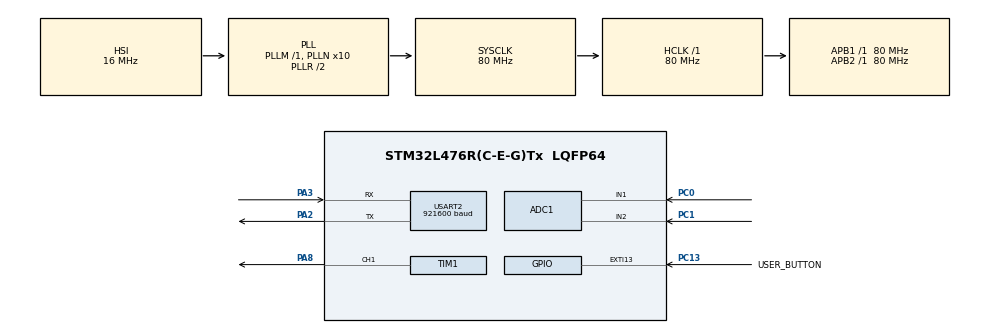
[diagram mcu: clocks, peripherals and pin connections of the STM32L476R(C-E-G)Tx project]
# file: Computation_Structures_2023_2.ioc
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ADC1.Channel-0\#ChannelRegularConversion=ADC_CHANNEL_1
ADC1.Channel-1\#ChannelRegularConversion=ADC_CHANNEL_2
ADC1.ClockPrescaler=ADC_CLOCK_ASYNC_DIV1
ADC1.ContinuousConvMode=ENABLE
ADC1.EOCSelection=ADC_EOC_SEQ_CONV
ADC1.NbrOfConversion=2
ADC1.NbrOfConversionFlag=1
ADC1.OffsetNumber-0\#ChannelRegularConversion=ADC_OFFSET_NONE
ADC1.OffsetNumber-1\#ChannelRegularConversion=ADC_OFFSET_NONE
ADC1.Rank-0\#ChannelRegularConversion=1
ADC1.Rank-1\#ChannelRegularConversion=2
ADC1.SamplingTime-0\#ChannelRegularConversion=ADC_SAMPLETIME_2CYCLES_5
ADC1.SamplingTime-1\#ChannelRegularConversion=ADC_SAMPLETIME_2CYCLES_5
ADC1.master=1
Dma.ADC1.1.Direction=DMA_PERIPH_TO_MEMORY
Dma.ADC1.1.Instance=DMA1_Channel1
Dma.ADC1.1.MemDataAlignment=DMA_MDATAALIGN_HALFWORD
Dma.ADC1.1.MemInc=DMA_MINC_ENABLE
Dma.ADC1.1.Mode=DMA_NORMAL
Dma.ADC1.1.PeriphDataAlignment=DMA_PDATAALIGN_HALFWORD
Dma.ADC1.1.PeriphInc=DMA_PINC_DISABLE
Dma.ADC1.1.Priority=DMA_PRIORITY_HIGH
Dma.Request0=USART2_TX
Dma.Request1=ADC1
Dma.USART2_TX.0.Direction=DMA_MEMORY_TO_PERIPH
Dma.USART2_TX.0.Instance=DMA1_Channel7
Dma.USART2_TX.0.MemDataAlignment=DMA_MDATAALIGN_BYTE
Dma.USART2_TX.0.MemInc=DMA_MINC_ENABLE
Dma.USART2_TX.0.Mode=DMA_NORMAL
Dma.USART2_TX.0.PeriphDataAlignment=DMA_PDATAALIGN_BYTE
Dma.USART2_TX.0.PeriphInc=DMA_PINC_DISABLE
Dma.USART2_TX.0.Priority=DMA_PRIORITY_MEDIUM
Mcu.Family=STM32L4
Mcu.Name=STM32L476R(C-E-G)Tx
Mcu.Package=LQFP64
NVIC.DMA1_Channel1_IRQn=true\:0\:0\:false\:false\:true\:false\:true\:true
NVIC.DMA1_Channel7_IRQn=true\:0\:0\:false\:false\:true\:false\:true\:true
NVIC.EXTI15_10_IRQn=true\:0\:0\:false\:false\:true\:true\:true\:true
NVIC.PriorityGroup=NVIC_PRIORITYGROUP_4
NVIC.RTC_Alarm_IRQn=true\:0\:0\:false\:false\:true\:true\:true\:true
NVIC.TIM7_IRQn=true\:0\:0\:false\:false\:true\:true\:true\:true
NVIC.USART2_IRQn=true\:0\:0\:false\:false\:true\:true\:true\:true
PA2.Mode=Asynchronous
PA2.Signal=USART2_TX
PA3.Mode=Asynchronous
PA3.Signal=USART2_RX
PA8.Signal=S_TIM1_CH1
PC0.Signal=ADCx_IN1
PC1.Signal=ADCx_IN2
PC13.GPIO_Label=USER_BUTTON
PC13.Signal=GPXTI13
ProjectManager.HeapSize=0x200
ProjectManager.StackSize=0x400
ProjectManager.TargetToolchain=STM32CubeIDE
RCC.ADCFreq_Value=64000000
RCC.AHBFreq_Value=80000000
RCC.APB1Freq_Value=80000000
RCC.APB1TimFreq_Value=80000000
RCC.APB2Freq_Value=80000000
RCC.APB2TimFreq_Value=80000000
RCC.CortexFreq_Value=80000000
RCC.HCLKFreq_Value=80000000
RCC.HSE_VALUE=8000000
RCC.HSI_VALUE=16000000
RCC.LSE_VALUE=32768
RCC.MSI_VALUE=4000000
RCC.PLLN=10
RCC.PLLSourceVirtual=RCC_PLLSOURCE_HSI
RCC.PREFETCH_ENABLE=1
RCC.SYSCLKFreq_VALUE=80000000
RCC.SYSCLKSource=RCC_SYSCLKSOURCE_PLLCLK
RCC.USBFreq_Value=64000000
RCC.VCOOutputFreq_Value=160000000
RTC.Alarm-Alarm\ A=RTC_ALARM_A
SH.ADCx_IN1.0=ADC1_IN1,IN1-Single-Ended
SH.ADCx_IN2.0=ADC1_IN2,IN2-Single-Ended
SH.S_TIM1_CH1.0=TIM1_CH1,PWM Generation1 CH1
TIM1.Channel-PWM\ Generation1\ CH1=TIM_CHANNEL_1
TIM1.Period=100-1
TIM1.Prescaler=800-1
TIM7.Period=10000-1
TIM7.Prescaler=8000-1
USART2.BaudRate=921600
USART2.VirtualMode-Asynchronous=VM_ASYNC
VP_RTC_VS_RTC_Activate.Mode=RTC_Enabled
VP_RTC_VS_RTC_Alarm_A_Intern.Mode=Alarm A
VP_RTC_VS_RTC_Calendar.Mode=RTC_Calendar
VP_TIM1_VS_ClockSourceINT.Mode=Internal
VP_TIM7_VS_ClockSourceINT.Mode=Enable_Timer
board=NUCLEO-L476RG

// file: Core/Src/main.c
/* USER CODE BEGIN Header */
/**
  ******************************************************************************
  * @file           : main.c
  * @brief          : Main program body
  ******************************************************************************
  * @attention
  *
  * Copyright (c) 2023 STMicroelectronics.
  * All rights reserved.
  *
  * This software is licensed under terms that can be found in the LICENSE file
  * in the root directory of this software component.
  * If no LICENSE file comes with this software, it is provided AS-IS.
  *
  ******************************************************************************
  */
/* USER CODE END Header */
#include "main.h"

/* USER CODE BEGIN Includes */
#include <stdio.h>
/* USER CODE END Includes */

ADC_HandleTypeDef hadc1;
DMA_HandleTypeDef hdma_adc1;

RTC_HandleTypeDef hrtc;

TIM_HandleTypeDef htim1;
TIM_HandleTypeDef htim7;

UART_HandleTypeDef huart2;
DMA_HandleTypeDef hdma_usart2_tx;

/* USER CODE BEGIN PV */
uint8_t rx_buffer[4];
uint32_t ADC_buffer[100];//este es el buffer

uint8_t tx_busy = 0;

int msg = 0;
/* USER CODE END PV */

void SystemClock_Config(void);
static void MX_GPIO_Init(void);
static void MX_DMA_Init(void);
static void MX_USART2_UART_Init(void);
static void MX_TIM7_Init(void);
static void MX_TIM1_Init(void);
static void MX_ADC1_Init(void);
static void MX_RTC_Init(void);

/* USER CODE BEGIN 0 */
int _write(int file, char *ptr, int len)
{
	while (tx_busy != 0) {/* Wait */}
  HAL_UART_Transmit_DMA(&huart2, (uint8_t *)ptr, len);
  tx_busy = 1;
  return len;
}

void HAL_UART_RxCpltCallback(UART_HandleTypeDef *huart)
{
	printf("Received: [%s]\r\n", rx_buffer);
	HAL_UART_Receive_IT(&huart2, rx_buffer, 1);
}

void HAL_UART_TxCpltCallback(UART_HandleTypeDef *huart)
{
	tx_busy = 0;
}

void HAL_TIM_PeriodElapsedCallback(TIM_HandleTypeDef *htim)
{
	static uint32_t counter = 0;

	printf("Counter: %ld\r\n", counter++);
}

void rtc_alarm_config(void)
{
	RTC_DateTypeDef date;
	RTC_TimeTypeDef time;
	RTC_AlarmTypeDef alarm;

	date.Year=0x23;
	date.Month= RTC_MONTH_OCTOBER;
	date.Date= 0x06;
	date.WeekDay= RTC_WEEKDAY_FRIDAY;
	HAL_RTC_SetDate(&hrtc, &date, RTC_FORMAT_BCD);

	time.Hours =0x07;
	time.Minutes =10;
	time.Seconds=0x00;
	time.TimeFormat=RTC_HOURFORMAT_24;
	HAL_RTC_SetTime(&hrtc, &time, RTC_FORMAT_BCD);

	alarm.Alarm = RTC_ALARM_A;
	alarm.AlarmTime.Hours = 0x09;
	alarm.AlarmTime.Minutes = 0x10;
	alarm.AlarmTime.Seconds = 0x10;
	HAL_RTC_SetAlarm_IT(&hrtc, &alarm, RTC_FORMAT_BCD);
}

void update_adc_channel(uint32_t new_channel)
{
	ADC_ChannelConfTypeDef sConfig = {0};
	/** Configure Regular Channel
	  */
	sConfig.Channel = new_channel;
	sConfig.Rank = ADC_REGULAR_RANK_1;
	sConfig.SamplingTime = ADC_SAMPLETIME_2CYCLES_5;
	sConfig.SingleDiff = ADC_SINGLE_ENDED;
	sConfig.OffsetNumber = ADC_OFFSET_NONE;
	sConfig.Offset = 0;
	if (HAL_ADC_ConfigChannel(&hadc1, &sConfig) != HAL_OK)
	{
		Error_Handler();
	}
}
/* USER CODE END 0 */

int main(void)
{

  /* MCU Configuration--------------------------------------------------------*/

  /* Reset of all peripherals, Initializes the Flash interface and the Systick. */
  HAL_Init();

  /* Configure the system clock */
  SystemClock_Config();

  /* Initialize all configured peripherals */
  MX_GPIO_Init();
  MX_DMA_Init();
  MX_USART2_UART_Init();
  MX_TIM7_Init();
  MX_TIM1_Init();
  MX_ADC1_Init();
  MX_RTC_Init();
  /* USER CODE BEGIN 2 */
  HAL_UART_Receive_IT(&huart2, rx_buffer, 1);

  HAL_TIM_Base_Start_IT(&htim7);

  TIM1->CCR1 = 50; // To set the compare channel 1
  //HAL_TIM_PWM_Start(&htim1, TIM_CHANNEL_1);

  HAL_ADC_Start_DMA(&hadc1, (uint32_t *) ADC_buffer, 100);

  for (int var = 0; var < 100; ++var) {
	  HAL_ADC_Start_DMA(&hadc1, ADC_buffer, 1);
	  msg = HAL_ADC_GetValue(&hadc1);
			  //printf(msg);

}

  /* USER CODE END 2 */

  /* Infinite loop */
  /* USER CODE BEGIN WHILE */
  for (uint8_t idx =0; idx <= 0x0F; idx++)
	  printf("IDX: 0x%02X\r\n", idx);

  //rtc_alarm_cpnfig();

  while (1)
  {
	update_adc_channel(ADC_CHANNEL_1);
	HAL_ADC_Start(&hadc1);
	HAL_ADC_PollForConversion(&hadc1, 10);
	uint16_t adc_value = HAL_ADC_GetValue(&hadc1);
	HAL_ADC_Stop(&hadc1);

	update_adc_channel(ADC_CHANNEL_2);
	HAL_ADC_Start(&hadc1);
	HAL_ADC_PollForConversion(&hadc1, 10);
	uint16_t adc_value2 = HAL_ADC_GetValue(&hadc1);
	HAL_ADC_Stop(&hadc1);

	float adc_voltage = (adc_value / 4096.0) * 3.3;
	float adc_voltage2 = (adc_value2 / 4096.0) * 3.3;
	printf("ADC Reading: %f, %f\r\n", adc_voltage, adc_voltage2);
	HAL_Delay(1000);
    /* USER CODE END WHILE */

  }
}

void SystemClock_Config(void)
{
  RCC_OscInitTypeDef RCC_OscInitStruct = {0};
  RCC_ClkInitTypeDef RCC_ClkInitStruct = {0};

  /** Configure the main internal regulator output voltage
  */
  if (HAL_PWREx_ControlVoltageScaling(PWR_REGULATOR_VOLTAGE_SCALE1) != HAL_OK)
  {
    Error_Handler();
  }

  /** Initializes the RCC Oscillators according to the specified parameters
  * in the RCC_OscInitTypeDef structure.
  */
  RCC_OscInitStruct.OscillatorType = RCC_OSCILLATORTYPE_HSI|RCC_OSCILLATORTYPE_LSI;
  RCC_OscInitStruct.HSIState = RCC_HSI_ON;
  RCC_OscInitStruct.HSICalibrationValue = RCC_HSICALIBRATION_DEFAULT;
  RCC_OscInitStruct.LSIState = RCC_LSI_ON;
  RCC_OscInitStruct.PLL.PLLState = RCC_PLL_ON;
  RCC_OscInitStruct.PLL.PLLSource = RCC_PLLSOURCE_HSI;
  RCC_OscInitStruct.PLL.PLLM = 1;
  RCC_OscInitStruct.PLL.PLLN = 10;
  RCC_OscInitStruct.PLL.PLLP = RCC_PLLP_DIV7;
  RCC_OscInitStruct.PLL.PLLQ = RCC_PLLQ_DIV2;
  RCC_OscInitStruct.PLL.PLLR = RCC_PLLR_DIV2;
  if (HAL_RCC_OscConfig(&RCC_OscInitStruct) != HAL_OK)
  {
    Error_Handler();
  }

  /** Initializes the CPU, AHB and APB buses clocks
  */
  RCC_ClkInitStruct.ClockType = RCC_CLOCKTYPE_HCLK|RCC_CLOCKTYPE_SYSCLK
                              |RCC_CLOCKTYPE_PCLK1|RCC_CLOCKTYPE_PCLK2;
  RCC_ClkInitStruct.SYSCLKSource = RCC_SYSCLKSOURCE_PLLCLK;
  RCC_ClkInitStruct.AHBCLKDivider = RCC_SYSCLK_DIV1;
  RCC_ClkInitStruct.APB1CLKDivider = RCC_HCLK_DIV1;
  RCC_ClkInitStruct.APB2CLKDivider = RCC_HCLK_DIV1;

  if (HAL_RCC_ClockConfig(&RCC_ClkInitStruct, FLASH_LATENCY_4) != HAL_OK)
  {
    Error_Handler();
  }
}

static void MX_ADC1_Init(void)
{

  ADC_MultiModeTypeDef multimode = {0};
  ADC_ChannelConfTypeDef sConfig = {0};

  /** Common config
  */
  hadc1.Instance = ADC1;
  hadc1.Init.ClockPrescaler = ADC_CLOCK_ASYNC_DIV1;
  hadc1.Init.Resolution = ADC_RESOLUTION_12B;
  hadc1.Init.DataAlign = ADC_DATAALIGN_RIGHT;
  hadc1.Init.ScanConvMode = ADC_SCAN_ENABLE;
  hadc1.Init.EOCSelection = ADC_EOC_SEQ_CONV;
  hadc1.Init.LowPowerAutoWait = DISABLE;
  hadc1.Init.ContinuousConvMode = ENABLE;
  hadc1.Init.NbrOfConversion = 2;
  hadc1.Init.DiscontinuousConvMode = DISABLE;
  hadc1.Init.ExternalTrigConv = ADC_SOFTWARE_START;
  hadc1.Init.ExternalTrigConvEdge = ADC_EXTERNALTRIGCONVEDGE_NONE;
  hadc1.Init.DMAContinuousRequests = DISABLE;
  hadc1.Init.Overrun = ADC_OVR_DATA_PRESERVED;
  hadc1.Init.OversamplingMode = DISABLE;
  if (HAL_ADC_Init(&hadc1) != HAL_OK)
  {
    Error_Handler();
  }

  /** Configure the ADC multi-mode
  */
  multimode.Mode = ADC_MODE_INDEPENDENT;
  if (HAL_ADCEx_MultiModeConfigChannel(&hadc1, &multimode) != HAL_OK)
  {
    Error_Handler();
  }

  /** Configure Regular Channel
  */
  sConfig.Channel = ADC_CHANNEL_1;
  sConfig.Rank = ADC_REGULAR_RANK_1;
  sConfig.SamplingTime = ADC_SAMPLETIME_2CYCLES_5;
  sConfig.SingleDiff = ADC_SINGLE_ENDED;
  sConfig.OffsetNumber = ADC_OFFSET_NONE;
  sConfig.Offset = 0;
  if (HAL_ADC_ConfigChannel(&hadc1, &sConfig) != HAL_OK)
  {
    Error_Handler();
  }

  /** Configure Regular Channel
  */
  sConfig.Channel = ADC_CHANNEL_2;
  sConfig.Rank = ADC_REGULAR_RANK_2;
  if (HAL_ADC_ConfigChannel(&hadc1, &sConfig) != HAL_OK)
  {
    Error_Handler();
  }

}

static void MX_RTC_Init(void)
{

  RTC_TimeTypeDef sTime = {0};
  RTC_DateTypeDef sDate = {0};
  RTC_AlarmTypeDef sAlarm = {0};

  /** Initialize RTC Only
  */
  hrtc.Instance = RTC;
  hrtc.Init.HourFormat = RTC_HOURFORMAT_24;
  hrtc.Init.AsynchPrediv = 127;
  hrtc.Init.SynchPrediv = 255;
  hrtc.Init.OutPut = RTC_OUTPUT_DISABLE;
  hrtc.Init.OutPutRemap = RTC_OUTPUT_REMAP_NONE;
  hrtc.Init.OutPutPolarity = RTC_OUTPUT_POLARITY_HIGH;
  hrtc.Init.OutPutType = RTC_OUTPUT_TYPE_OPENDRAIN;
  if (HAL_RTC_Init(&hrtc) != HAL_OK)
  {
    Error_Handler();
  }

  /** Initialize RTC and set the Time and Date
  */
  sTime.Hours = 0x0;
  sTime.Minutes = 0x0;
  sTime.Seconds = 0x0;
  sTime.DayLightSaving = RTC_DAYLIGHTSAVING_NONE;
  sTime.StoreOperation = RTC_STOREOPERATION_RESET;
  if (HAL_RTC_SetTime(&hrtc, &sTime, RTC_FORMAT_BCD) != HAL_OK)
  {
    Error_Handler();
  }
  sDate.WeekDay = RTC_WEEKDAY_MONDAY;
  sDate.Month = RTC_MONTH_JANUARY;
  sDate.Date = 0x1;
  sDate.Year = 0x0;

  if (HAL_RTC_SetDate(&hrtc, &sDate, RTC_FORMAT_BCD) != HAL_OK)
  {
    Error_Handler();
  }

  /** Enable the Alarm A
  */
  sAlarm.AlarmTime.Hours = 0x0;
  sAlarm.AlarmTime.Minutes = 0x0;
  sAlarm.AlarmTime.Seconds = 0x0;
  sAlarm.AlarmTime.SubSeconds = 0x0;
  sAlarm.AlarmTime.DayLightSaving = RTC_DAYLIGHTSAVING_NONE;
  sAlarm.AlarmTime.StoreOperation = RTC_STOREOPERATION_RESET;
  sAlarm.AlarmMask = RTC_ALARMMASK_NONE;
  sAlarm.AlarmSubSecondMask = RTC_ALARMSUBSECONDMASK_ALL;
  sAlarm.AlarmDateWeekDaySel = RTC_ALARMDATEWEEKDAYSEL_DATE;
  sAlarm.AlarmDateWeekDay = 0x1;
  sAlarm.Alarm = RTC_ALARM_A;
  if (HAL_RTC_SetAlarm_IT(&hrtc, &sAlarm, RTC_FORMAT_BCD) != HAL_OK)
  {
    Error_Handler();
  }

}

static void MX_TIM1_Init(void)
{

  TIM_ClockConfigTypeDef sClockSourceConfig = {0};
  TIM_MasterConfigTypeDef sMasterConfig = {0};
  TIM_OC_InitTypeDef sConfigOC = {0};
  TIM_BreakDeadTimeConfigTypeDef sBreakDeadTimeConfig = {0};

  htim1.Instance = TIM1;
  htim1.Init.Prescaler = 800-1;
  htim1.Init.CounterMode = TIM_COUNTERMODE_UP;
  htim1.Init.Period = 100-1;
  htim1.Init.ClockDivision = TIM_CLOCKDIVISION_DIV1;
  htim1.Init.RepetitionCounter = 0;
  htim1.Init.AutoReloadPreload = TIM_AUTORELOAD_PRELOAD_DISABLE;
  if (HAL_TIM_Base_Init(&htim1) != HAL_OK)
  {
    Error_Handler();
  }
  sClockSourceConfig.ClockSource = TIM_CLOCKSOURCE_INTERNAL;
  if (HAL_TIM_ConfigClockSource(&htim1, &sClockSourceConfig) != HAL_OK)
  {
    Error_Handler();
  }
  if (HAL_TIM_PWM_Init(&htim1) != HAL_OK)
  {
    Error_Handler();
  }
  sMasterConfig.MasterOutputTrigger = TIM_TRGO_RESET;
  sMasterConfig.MasterOutputTrigger2 = TIM_TRGO2_RESET;
  sMasterConfig.MasterSlaveMode = TIM_MASTERSLAVEMODE_DISABLE;
  if (HAL_TIMEx_MasterConfigSynchronization(&htim1, &sMasterConfig) != HAL_OK)
  {
    Error_Handler();
  }
  sConfigOC.OCMode = TIM_OCMODE_PWM1;
  sConfigOC.Pulse = 0;
  sConfigOC.OCPolarity = TIM_OCPOLARITY_HIGH;
  sConfigOC.OCNPolarity = TIM_OCNPOLARITY_HIGH;
  sConfigOC.OCFastMode = TIM_OCFAST_DISABLE;
  sConfigOC.OCIdleState = TIM_OCIDLESTATE_RESET;
  sConfigOC.OCNIdleState = TIM_OCNIDLESTATE_RESET;
  if (HAL_TIM_PWM_ConfigChannel(&htim1, &sConfigOC, TIM_CHANNEL_1) != HAL_OK)
  {
    Error_Handler();
  }
  sBreakDeadTimeConfig.OffStateRunMode = TIM_OSSR_DISABLE;
  sBreakDeadTimeConfig.OffStateIDLEMode = TIM_OSSI_DISABLE;
  sBreakDeadTimeConfig.LockLevel = TIM_LOCKLEVEL_OFF;
  sBreakDeadTimeConfig.DeadTime = 0;
  sBreakDeadTimeConfig.BreakState = TIM_BREAK_DISABLE;
  sBreakDeadTimeConfig.BreakPolarity = TIM_BREAKPOLARITY_HIGH;
  sBreakDeadTimeConfig.BreakFilter = 0;
  sBreakDeadTimeConfig.Break2State = TIM_BREAK2_DISABLE;
  sBreakDeadTimeConfig.Break2Polarity = TIM_BREAK2POLARITY_HIGH;
  sBreakDeadTimeConfig.Break2Filter = 0;
  sBreakDeadTimeConfig.AutomaticOutput = TIM_AUTOMATICOUTPUT_DISABLE;
  if (HAL_TIMEx_ConfigBreakDeadTime(&htim1, &sBreakDeadTimeConfig) != HAL_OK)
  {
    Error_Handler();
  }
  HAL_TIM_MspPostInit(&htim1);

}

static void MX_TIM7_Init(void)
{

  TIM_MasterConfigTypeDef sMasterConfig = {0};

  htim7.Instance = TIM7;
  htim7.Init.Prescaler = 8000-1;
  htim7.Init.CounterMode = TIM_COUNTERMODE_UP;
  htim7.Init.Period = 10000-1;
  htim7.Init.AutoReloadPreload = TIM_AUTORELOAD_PRELOAD_DISABLE;
  if (HAL_TIM_Base_Init(&htim7) != HAL_OK)
  {
    Error_Handler();
  }
  sMasterConfig.MasterOutputTrigger = TIM_TRGO_RESET;
  sMasterConfig.MasterSlaveMode = TIM_MASTERSLAVEMODE_DISABLE;
  if (HAL_TIMEx_MasterConfigSynchronization(&htim7, &sMasterConfig) != HAL_OK)
  {
    Error_Handler();
  }

}

static void MX_USART2_UART_Init(void)
{

  huart2.Instance = USART2;
  huart2.Init.BaudRate = 921600;
  huart2.Init.WordLength = UART_WORDLENGTH_8B;
  huart2.Init.StopBits = UART_STOPBITS_1;
  huart2.Init.Parity = UART_PARITY_NONE;
  huart2.Init.Mode = UART_MODE_TX_RX;
  huart2.Init.HwFlowCtl = UART_HWCONTROL_NONE;
  huart2.Init.OverSampling = UART_OVERSAMPLING_16;
  huart2.Init.OneBitSampling = UART_ONE_BIT_SAMPLE_DISABLE;
  huart2.AdvancedInit.AdvFeatureInit = UART_ADVFEATURE_NO_INIT;
  if (HAL_UART_Init(&huart2) != HAL_OK)
  {
    Error_Handler();
  }

}

static void MX_DMA_Init(void)
{

  /* DMA controller clock enable */
  __HAL_RCC_DMA1_CLK_ENABLE();

  /* DMA interrupt init */
  /* DMA1_Channel1_IRQn interrupt configuration */
  HAL_NVIC_SetPriority(DMA1_Channel1_IRQn, 0, 0);
  HAL_NVIC_EnableIRQ(DMA1_Channel1_IRQn);
  /* DMA1_Channel7_IRQn interrupt configuration */
  HAL_NVIC_SetPriority(DMA1_Channel7_IRQn, 0, 0);
  HAL_NVIC_EnableIRQ(DMA1_Channel7_IRQn);

}

static void MX_GPIO_Init(void)
{
  GPIO_InitTypeDef GPIO_InitStruct = {0};

  /* GPIO Ports Clock Enable */
  __HAL_RCC_GPIOC_CLK_ENABLE();
  __HAL_RCC_GPIOA_CLK_ENABLE();

  /*Configure GPIO pin : USER_BUTTON_Pin */
  GPIO_InitStruct.Pin = USER_BUTTON_Pin;
  GPIO_InitStruct.Mode = GPIO_MODE_IT_RISING;
  GPIO_InitStruct.Pull = GPIO_NOPULL;
  HAL_GPIO_Init(USER_BUTTON_GPIO_Port, &GPIO_InitStruct);

  /* EXTI interrupt init*/
  HAL_NVIC_SetPriority(EXTI15_10_IRQn, 0, 0);
  HAL_NVIC_EnableIRQ(EXTI15_10_IRQn);

}

void Error_Handler(void)
{
  __disable_irq();
  while (1)
  {
  }
}
